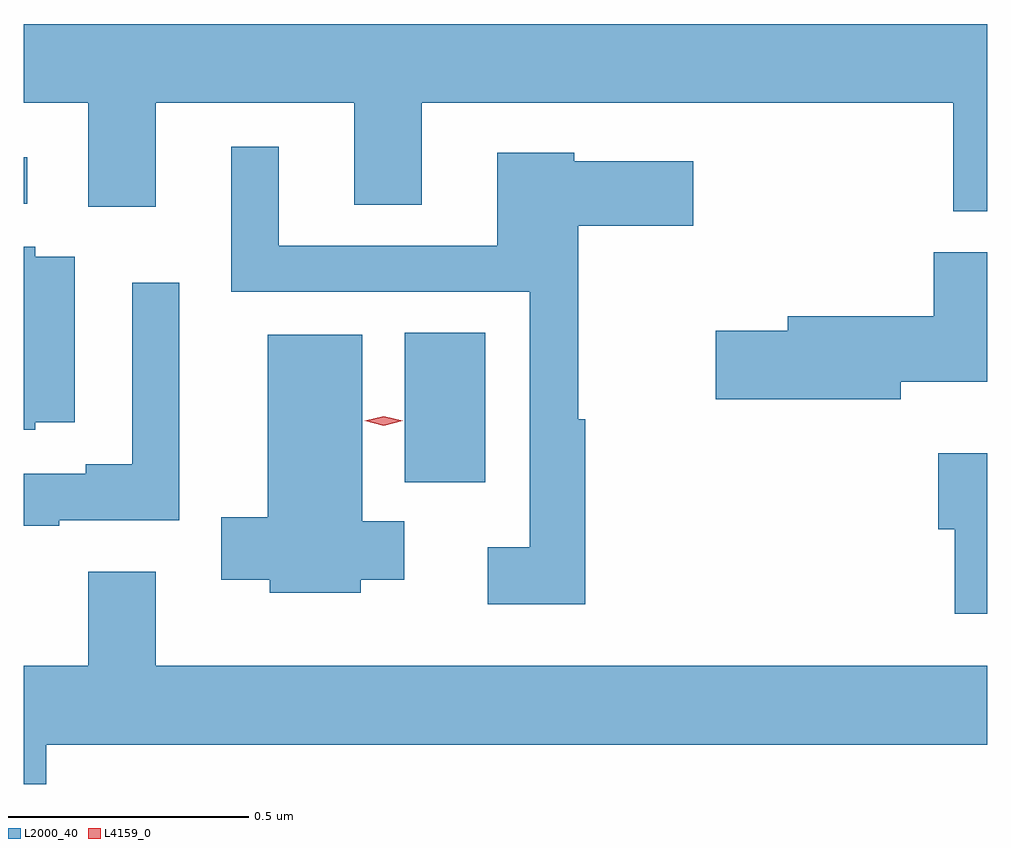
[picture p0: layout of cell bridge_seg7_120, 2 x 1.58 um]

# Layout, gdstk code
import gdstk
lib = gdstk.Library(unit=1e-6, precision=1e-09)
def R(c, l, rs):  # rectangles x0, y0, x1, y1
    for r in rs: c.add(gdstk.rectangle(r[:2], r[2:], *l))
def P(c, l, *ps):  # polygons
    for p in ps: c.add(gdstk.Polygon(p, *l))
L2000_40 = (2000, 40)
L4159_0 = (4159, 0)

bridge_seg7_120 = lib.new_cell('bridge_seg7_120')
R(bridge_seg7_120, L2000_40, [(877.532,1002.493,877.699,1002.803), (876.741,1003.071,876.748,1003.167)])
P(bridge_seg7_120, L2000_40, [(878.741,1003.444),(876.741,1003.444),(876.741,1003.28),(876.875,1003.28),(876.875,1003.065),(877.015,1003.065),(877.015,1003.28),(877.427,1003.28),(877.427,1003.069),(877.567,1003.069),(877.567,1003.28),(878.671,1003.28),(878.671,1003.055),(878.741,1003.055)],
  [(877.907,1002.623),(877.892,1002.623),(877.892,1003.025),(878.131,1003.025),(878.131,1003.159),(877.884,1003.159),(877.884,1003.177),(877.724,1003.177),(877.724,1002.984),(877.27,1002.984),(877.27,1003.189),(877.172,1003.189),(877.172,1002.888),(877.791,1002.888),(877.791,1002.358),(877.704,1002.358),(877.704,1002.239),(877.907,1002.239)],
  [(876.765,1002.617),(876.847,1002.617),(876.847,1002.961),(876.765,1002.961),(876.765,1002.982),(876.741,1002.982),(876.741,1002.602),(876.765,1002.602)],
  [(878.562,1002.701),(878.741,1002.701),(878.741,1002.97),(878.63,1002.97),(878.63,1002.837),(878.327,1002.837),(878.327,1002.807),(878.178,1002.807),(878.178,1002.665),(878.562,1002.665)],
  [(876.814,1002.414),(877.064,1002.414),(877.064,1002.907),(876.966,1002.907),(876.966,1002.53),(876.869,1002.53),(876.869,1002.51),(876.741,1002.51),(876.741,1002.402),(876.814,1002.402)],
  [(877.44,1002.29),(877.531,1002.29),(877.531,1002.412),(877.444,1002.412),(877.444,1002.799),(877.247,1002.799),(877.247,1002.42),(877.151,1002.42),(877.151,1002.29),(877.251,1002.29),(877.251,1002.263),(877.44,1002.263)],
  [(878.741,1002.553),(878.64,1002.553),(878.64,1002.395),(878.674,1002.395),(878.674,1002.219),(878.741,1002.219)],
  [(876.787,1001.948),(878.741,1001.948),(878.741,1002.112),(877.015,1002.112),(877.015,1002.307),(876.875,1002.307),(876.875,1002.112),(876.741,1002.112),(876.741,1001.866),(876.787,1001.866)])
P(bridge_seg7_120, L4159_0, [(877.488,1002.61),(877.449,1002.62),(877.449,1002.62),(877.449,1002.62),(877.488,1002.63),(877.528,1002.62),(877.528,1002.62),(877.528,1002.62)])

lib.write_gds('bridge_seg7_120.gds')
